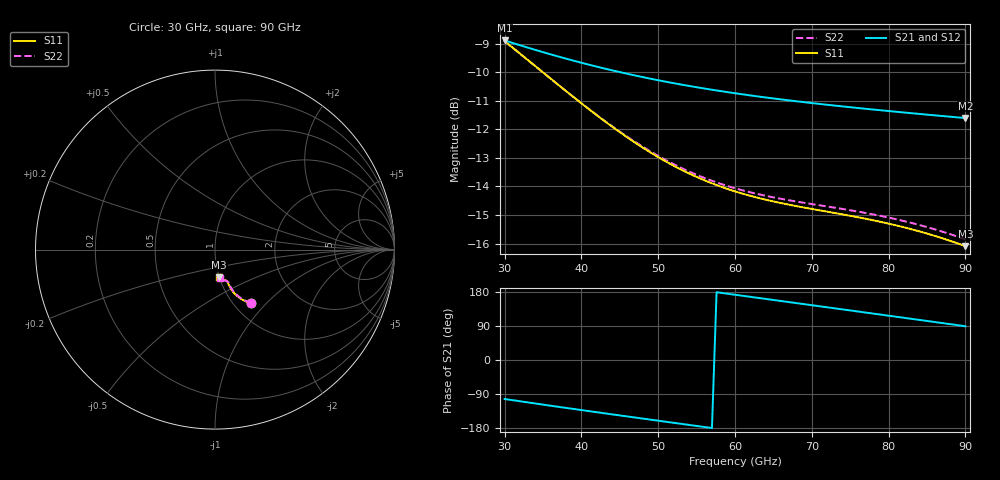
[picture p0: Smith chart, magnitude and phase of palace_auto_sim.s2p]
#  GHZ S DB R 50
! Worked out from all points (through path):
!   101 points, 30 GHz to 90 GHz, reference 50 ohm
!   highest |S21| = -8.89 dB at 30 GHz (marker M1); lowest = -11.6 dB at 90 GHz (marker M2)
!   group delay of S21, straight-line fit = 7.73 ps
!   lowest |S11| = -16.1 dB at 90 GHz (marker M3), VSWR 1.37, Z = 49.9 - j15.9 ohm
!   |S11| at or under -10 dB: 34.98 GHz to end of sweep
!   |S22| runs from -15.9 to -8.9 dB; largest |S21 - S12| = 3.9e-14
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30  -8.91 -56.3  -8.89 -102.9  -8.89 -102.9  -8.92 -55.9
33  -9.56 -59.6  -9.14 -111.8  -9.14 -111.8  -9.57 -59.1
35.4  -10.09 -61.8  -9.33 -118.9  -9.33 -118.9  -10.10 -61.2
37.8  -10.62 -63.7  -9.51 -125.8  -9.51 -125.8  -10.62 -63.0
40.2  -11.13 -65.2  -9.68 -132.7  -9.68 -132.7  -11.13 -64.5
42.6  -11.63 -66.4  -9.84 -139.5  -9.84 -139.5  -11.62 -65.6
45  -12.10 -67.3  -10.00 -146.3  -10.00 -146.3  -12.08 -66.4
47.4  -12.54 -68.0  -10.14 -153.0  -10.14 -153.0  -12.51 -67.0
50.4  -13.03 -68.4  -10.30 -161.3  -10.30 -161.3  -12.99 -67.4
52.8  -13.38 -68.6  -10.42 -167.9  -10.42 -167.9  -13.32 -67.5
55.2  -13.69 -68.7  -10.53 -174.6  -10.53 -174.6  -13.61 -67.6
57.6  -13.95 -68.8  -10.64 178.8  -10.64 178.8  -13.86 -67.7
60  -14.17 -68.9  -10.74 172.2  -10.74 172.2  -14.06 -67.8
64.8  -14.51 -69.5  -10.91 159.0  -10.91 159.0  -14.37 -68.4
67.2  -14.65 -69.9  -10.99 152.4  -10.99 152.4  -14.49 -68.9
70.2  -14.80 -70.8  -11.09 144.1  -11.09 144.1  -14.62 -69.8
73.2  -14.94 -71.9  -11.17 135.8  -11.17 135.8  -14.75 -71.0
75.6  -15.06 -73.0  -11.24 129.1  -11.24 129.1  -14.86 -72.2
80.4  -15.33 -75.5  -11.37 115.8  -11.37 115.8  -15.11 -74.9
85.2  -15.66 -78.3  -11.49 102.4  -11.49 102.4  -15.44 -77.9
87.6  -15.87 -79.8  -11.55 95.8  -11.55 95.8  -15.63 -79.4
90  -16.09 -81.2  -11.61 89.1  -11.61 89.1  -15.85 -81.0
